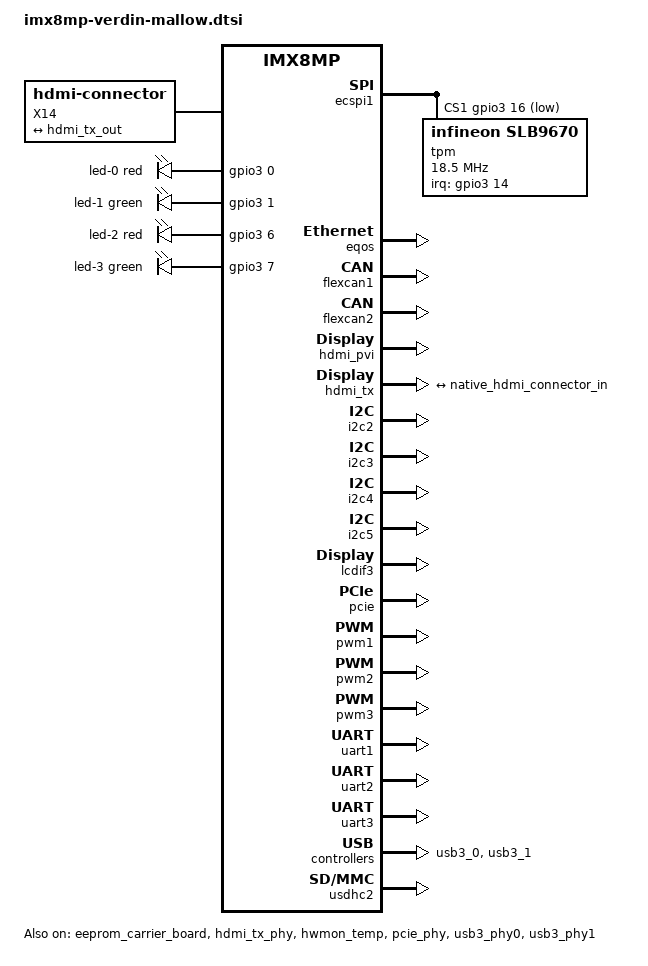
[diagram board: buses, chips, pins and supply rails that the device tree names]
// SPDX-License-Identifier: GPL-2.0-or-later OR MIT
/*
 * Copyright 2023 Toradex
 *
 * Common dtsi for Verdin IMX8MP SoM on Mallow carrier board
 *
 * https://www.toradex.com/computer-on-modules/verdin-arm-family/nxp-imx-8m-plus
 * https://www.toradex.com/products/carrier-board/mallow-carrier-board
 */

#include <dt-bindings/leds/common.h>

/ {
	native-hdmi-connector {
		compatible = "hdmi-connector";
		label = "X14";
		type = "a";

		port {
			native_hdmi_connector_in: endpoint {
				remote-endpoint = <&hdmi_tx_out>;
			};
		};
	};

	leds {
		compatible = "gpio-leds";
		pinctrl-names = "default";
		pinctrl-0 = <&pinctrl_leds>;

		/* SODIMM 52 - USER_LED_1_RED */
		led-0 {
			color = <LED_COLOR_ID_RED>;
			function = LED_FUNCTION_DEBUG;
			function-enumerator = <1>;
			gpios = <&gpio3 0 GPIO_ACTIVE_HIGH>;
		};

		/* SODIMM 54 - USER_LED_1_GREEN */
		led-1 {
			color = <LED_COLOR_ID_GREEN>;
			function = LED_FUNCTION_DEBUG;
			function-enumerator = <1>;
			gpios = <&gpio3 1 GPIO_ACTIVE_HIGH>;
		};

		/* SODIMM 56 - USER_LED_2_RED */
		led-2 {
			color = <LED_COLOR_ID_RED>;
			function = LED_FUNCTION_DEBUG;
			function-enumerator = <2>;
			gpios = <&gpio3 6 GPIO_ACTIVE_HIGH>;
		};

		/* SODIMM 58 - USER_LED_2_GREEN */
		led-3 {
			color = <LED_COLOR_ID_GREEN>;
			function = LED_FUNCTION_DEBUG;
			function-enumerator = <2>;
			gpios = <&gpio3 7 GPIO_ACTIVE_HIGH>;
		};
	};
};

&backlight {
	power-supply = <&reg_3p3v>;
};

/* Verdin SPI_1 */
&ecspi1 {
	pinctrl-0 = <&pinctrl_ecspi1>, <&pinctrl_tpm_cs>;
	cs-gpios = <&gpio5 9 GPIO_ACTIVE_LOW>, <&gpio3 16 GPIO_ACTIVE_LOW>;
	status = "okay";

	tpm@1 {
		compatible = "infineon,slb9670", "tcg,tpm_tis-spi";
		reg = <1>;
		pinctrl-names = "default";
		pinctrl-0 = <&pinctrl_tpm_irq>;
		interrupt-parent = <&gpio3>;
		interrupts = <14 IRQ_TYPE_LEVEL_LOW>;
		spi-max-frequency = <18500000>;
	};
};

/* EEPROM on Mallow */
&eeprom_carrier_board {
	status = "okay";
};

/* Verdin ETH_1 */
&eqos {
	status = "okay";
};

/* Verdin CAN_1 */
&flexcan1 {
	status = "okay";
};

/* Verdin CAN_2 */
&flexcan2 {
	status = "okay";
};

/* Verdin HDMI_1 */
&hdmi_pvi {
	status = "okay";
};

&hdmi_tx {
	status = "okay";

	ports {
		port@1 {
			hdmi_tx_out: endpoint {
				remote-endpoint = <&native_hdmi_connector_in>;
			};
		};
	};
};

&hdmi_tx_phy {
	status = "okay";
};

/* Temperature sensor on Mallow */
&hwmon_temp {
	compatible = "ti,tmp1075";
	status = "okay";
};

/* Verdin I2C_2_DSI */
&i2c2 {
	status = "okay";
};

/* Verdin I2C_4_CSI */
&i2c3 {
	status = "okay";
};

/* Verdin I2C_1 */
&i2c4 {
	status = "okay";
};

/* Verdin I2C_3_HDMI */
&i2c5 {
	status = "okay";
};

&lcdif3 {
	status = "okay";
};

/* Verdin PCIE_1 */
&pcie {
	status = "okay";
};

&pcie_phy {
	status = "okay";
};

/* Verdin PWM_1 */
&pwm1 {
	status = "okay";
};

/* Verdin PWM_2 */
&pwm2 {
	status = "okay";
};

/* Verdin PWM_3_DSI */
&pwm3 {
	status = "okay";
};

&reg_usdhc2_vmmc {
	vin-supply = <&reg_3p3v>;
};

/* Verdin UART_1 */
&uart1 {
	status = "okay";
};

/* Verdin UART_2 */
&uart2 {
	status = "okay";
};

/* Verdin UART_3 */
&uart3 {
	status = "okay";
};

/* Verdin USB_1 */
&usb3_0 {
	status = "okay";
};

&usb3_phy0 {
	status = "okay";
};

/* Verdin USB_2 */
&usb3_1 {
	status = "okay";
};

&usb3_phy1 {
	status = "okay";
};

/* Verdin SD_1 */
&usdhc2 {
	status = "okay";
};

&iomuxc {
	pinctrl_leds: ledsgrp {
		fsl,pins =
			<MX8MP_IOMUXC_NAND_ALE__GPIO3_IO00	0x106>, /* SODIMM 52 */
			<MX8MP_IOMUXC_NAND_CE0_B__GPIO3_IO01	0x106>, /* SODIMM 54 */
			<MX8MP_IOMUXC_NAND_DATA00__GPIO3_IO06	0x106>, /* SODIMM 56 */
			<MX8MP_IOMUXC_NAND_DATA01__GPIO3_IO07	0x106>; /* SODIMM 58 */
	};

	pinctrl_tpm_cs: tpmcsgrp {
		fsl,pins =
			<MX8MP_IOMUXC_NAND_READY_B__GPIO3_IO16	0x82>; /* SODIMM 64 */
	};

	pinctrl_tpm_irq: tpmirqgrp {
		fsl,pins =
			<MX8MP_IOMUXC_NAND_DQS__GPIO3_IO14	0x16>; /* SODIMM 66 */
	};
};
